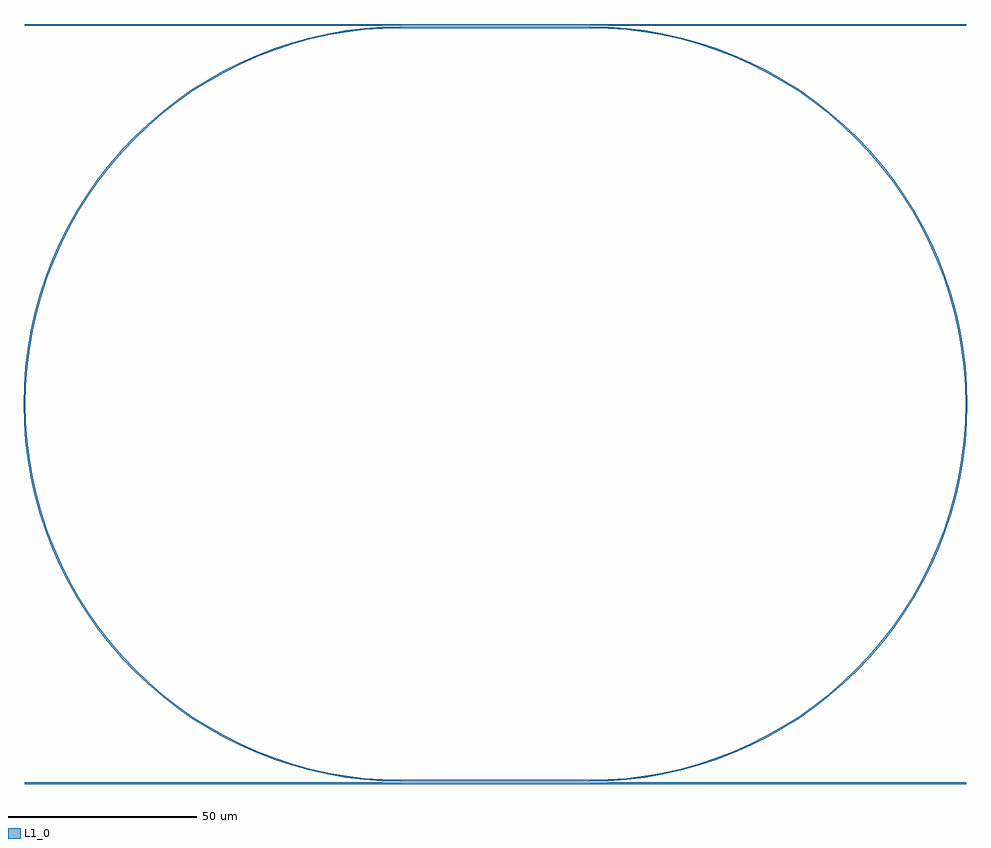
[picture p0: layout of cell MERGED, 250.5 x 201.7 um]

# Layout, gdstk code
import gdstk
lib = gdstk.Library(unit=1e-6, precision=1e-09)
def R(c, l, rs):  # rectangles x0, y0, x1, y1
    for r in rs: c.add(gdstk.rectangle(r[:2], r[2:], *l))
def P(c, l, *ps):  # polygons
    for p in ps: c.add(gdstk.Polygon(p, *l))
L1_0 = (1, 0)

merged = lib.new_cell('MERGED')
R(merged, L1_0, [(-125,-100.85,125,-100.35), (-25,-100.25,25,-99.75), (-25,99.75,25,100.25), (-125,100.35,125,100.85)])
P(merged, L1_0, [(25,-99.75),(29.895,-99.63),(34.777,-99.27),(39.636,-98.67),(44.46,-97.833),(49.237,-96.761),(53.956,-95.455),(58.605,-93.919),(63.173,-92.157),(67.649,-90.173),(72.022,-87.972),(76.282,-85.558),(80.418,-82.939),(84.421,-80.12),(88.281,-77.108),(91.988,-73.91),(95.534,-70.534),(98.91,-66.988),(102.108,-63.281),(105.12,-59.421),(107.939,-55.418),(110.558,-51.282),(112.972,-47.022),(115.173,-42.649),(117.157,-38.173),(118.919,-33.605),(120.455,-28.956),(121.761,-24.237),(122.833,-19.46),(123.67,-14.636),(124.27,-9.777),(124.63,-4.895),(124.75,0),(124.63,4.895),(124.27,9.777),(123.67,14.636),(122.833,19.46),(121.761,24.237),(120.455,28.956),(118.919,33.605),(117.157,38.173),(115.173,42.649),(112.972,47.022),(110.558,51.282),(107.939,55.418),(105.12,59.421),(102.108,63.281),(98.91,66.988),(95.534,70.534),(91.988,73.91),(88.281,77.108),(84.421,80.12),(80.418,82.939),(76.282,85.558),(72.022,87.972),(67.649,90.173),(63.173,92.157),(58.605,93.919),(53.956,95.455),(49.237,96.761),(44.46,97.833),(39.636,98.67),(34.777,99.27),(29.895,99.63),(25,99.75),(25,100.25),(29.919,100.129),(34.826,99.767),(39.71,99.165),(44.558,98.324),(49.359,97.246),(54.101,95.933),(58.773,94.39),(63.364,92.619),(67.862,90.625),(72.258,88.413),(76.539,85.987),(80.696,83.355),(84.719,80.522),(88.598,77.494),(92.324,74.28),(95.887,70.887),(99.28,67.324),(102.494,63.598),(105.522,59.719),(108.355,55.696),(110.987,51.539),(113.413,47.258),(115.625,42.862),(117.619,38.364),(119.39,33.773),(120.933,29.101),(122.246,24.359),(123.324,19.558),(124.165,14.71),(124.767,9.826),(125.129,4.919),(125.25,0),(125.129,-4.919),(124.767,-9.826),(124.165,-14.71),(123.324,-19.558),(122.246,-24.359),(120.933,-29.101),(119.39,-33.773),(117.619,-38.364),(115.625,-42.862),(113.413,-47.258),(110.987,-51.539),(108.355,-55.696),(105.522,-59.719),(102.494,-63.598),(99.28,-67.324),(95.887,-70.887),(92.324,-74.28),(88.598,-77.494),(84.719,-80.522),(80.696,-83.355),(76.539,-85.987),(72.258,-88.413),(67.862,-90.625),(63.364,-92.619),(58.773,-94.39),(54.101,-95.933),(49.359,-97.246),(44.558,-98.324),(39.71,-99.165),(34.826,-99.767),(29.919,-100.129),(25,-100.25)],
  [(-25,99.75),(-29.895,99.63),(-34.777,99.27),(-39.636,98.67),(-44.46,97.833),(-49.237,96.761),(-53.956,95.455),(-58.605,93.919),(-63.173,92.157),(-67.649,90.173),(-72.022,87.972),(-76.282,85.558),(-80.418,82.939),(-84.421,80.12),(-88.281,77.108),(-91.988,73.91),(-95.534,70.534),(-98.91,66.988),(-102.108,63.281),(-105.12,59.421),(-107.939,55.418),(-110.558,51.282),(-112.972,47.022),(-115.173,42.649),(-117.157,38.173),(-118.919,33.605),(-120.455,28.956),(-121.761,24.237),(-122.833,19.46),(-123.67,14.636),(-124.27,9.777),(-124.63,4.895),(-124.75,0),(-124.63,-4.895),(-124.27,-9.777),(-123.67,-14.636),(-122.833,-19.46),(-121.761,-24.237),(-120.455,-28.956),(-118.919,-33.605),(-117.157,-38.173),(-115.173,-42.649),(-112.972,-47.022),(-110.558,-51.282),(-107.939,-55.418),(-105.12,-59.421),(-102.108,-63.281),(-98.91,-66.988),(-95.534,-70.534),(-91.988,-73.91),(-88.281,-77.108),(-84.421,-80.12),(-80.418,-82.939),(-76.282,-85.558),(-72.022,-87.972),(-67.649,-90.173),(-63.173,-92.157),(-58.605,-93.919),(-53.956,-95.455),(-49.237,-96.761),(-44.46,-97.833),(-39.636,-98.67),(-34.777,-99.27),(-29.895,-99.63),(-25,-99.75),(-25,-100.25),(-29.919,-100.129),(-34.826,-99.767),(-39.71,-99.165),(-44.558,-98.324),(-49.359,-97.246),(-54.101,-95.933),(-58.773,-94.39),(-63.364,-92.619),(-67.862,-90.625),(-72.258,-88.413),(-76.539,-85.987),(-80.696,-83.355),(-84.719,-80.522),(-88.598,-77.494),(-92.324,-74.28),(-95.887,-70.887),(-99.28,-67.324),(-102.494,-63.598),(-105.522,-59.719),(-108.355,-55.696),(-110.987,-51.539),(-113.413,-47.258),(-115.625,-42.862),(-117.619,-38.364),(-119.39,-33.773),(-120.933,-29.101),(-122.246,-24.359),(-123.324,-19.558),(-124.165,-14.71),(-124.767,-9.826),(-125.129,-4.919),(-125.25,0),(-125.129,4.919),(-124.767,9.826),(-124.165,14.71),(-123.324,19.558),(-122.246,24.359),(-120.933,29.101),(-119.39,33.773),(-117.619,38.364),(-115.625,42.862),(-113.413,47.258),(-110.987,51.539),(-108.355,55.696),(-105.522,59.719),(-102.494,63.598),(-99.28,67.324),(-95.887,70.887),(-92.324,74.28),(-88.598,77.494),(-84.719,80.522),(-80.696,83.355),(-76.539,85.987),(-72.258,88.413),(-67.862,90.625),(-63.364,92.619),(-58.773,94.39),(-54.101,95.933),(-49.359,97.246),(-44.558,98.324),(-39.71,99.165),(-34.826,99.767),(-29.919,100.129),(-25,100.25)])

lib.write_gds('MERGED.gds')
